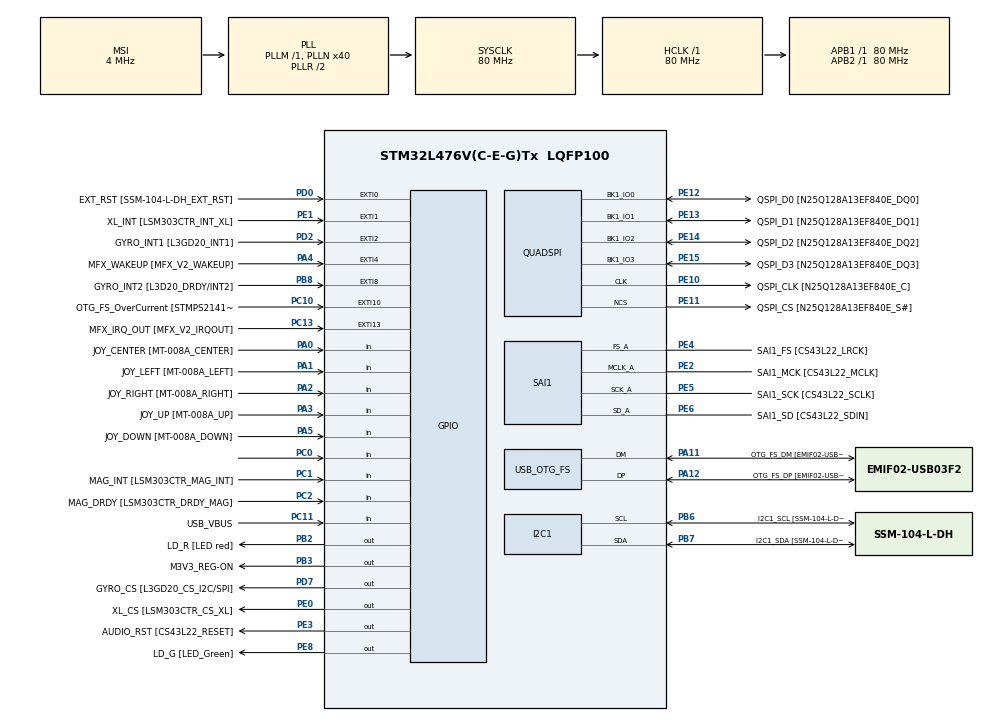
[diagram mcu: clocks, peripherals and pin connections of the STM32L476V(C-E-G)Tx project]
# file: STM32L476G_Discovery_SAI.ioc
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Dma.Request0=SAI1_A
Dma.SAI1_A.0.Direction=DMA_MEMORY_TO_PERIPH
Dma.SAI1_A.0.Instance=DMA2_Channel1
Dma.SAI1_A.0.MemDataAlignment=DMA_MDATAALIGN_HALFWORD
Dma.SAI1_A.0.MemInc=DMA_MINC_ENABLE
Dma.SAI1_A.0.Mode=DMA_CIRCULAR
Dma.SAI1_A.0.PeriphDataAlignment=DMA_PDATAALIGN_HALFWORD
Dma.SAI1_A.0.PeriphInc=DMA_PINC_DISABLE
Dma.SAI1_A.0.Priority=DMA_PRIORITY_HIGH
FATFS._MAX_SS=4096
FATFS._MIN_SS=4096
FREERTOS.Mutexes01=qspiMutex
FREERTOS.Tasks01=appTask,0,4096,appTaskBody,Default;usbTask,2,256,usbTaskBody,Default;audioTask,0,1024,audioTaskBody,Default
FREERTOS.configTOTAL_HEAP_SIZE=24576
I2C1.I2C_Fall_Time=20
I2C1.I2C_Rise_Time=640
I2C1.Timing=0x40E03E53
Mcu.Family=STM32L4
Mcu.Name=STM32L476V(C-E-G)Tx
Mcu.Package=LQFP100
Mcu.UserConstants=A,1;B,2
NVIC.DMA2_Channel1_IRQn=true\:5\:0\:false\:false\:true\:true
NVIC.OTG_FS_IRQn=true\:5\:0\:false\:false\:true\:true
NVIC.PriorityGroup=NVIC_PRIORITYGROUP_4
PA0.GPIO_Label=JOY_CENTER [MT-008A_CENTER]
PA0.GPIO_Mode=GPIO_MODE_INPUT
PA0.GPIO_PuPd=GPIO_PULLDOWN
PA0.Signal=GPIO_Input
PA1.GPIO_Label=JOY_LEFT [MT-008A_LEFT]
PA1.GPIO_Mode=GPIO_MODE_INPUT
PA1.GPIO_PuPd=GPIO_PULLDOWN
PA1.Signal=GPIO_Input
PA10.GPIO_Label=COM2 [GH08172T_COM2]
PA10.GPIO_Mode=GPIO_MODE_AF_PP
PA10.GPIO_PuPd=GPIO_NOPULL
PA10.GPIO_Speed=GPIO_SPEED_FREQ_LOW
PA10.Signal=LCD_COM2
PA11.GPIO_Label=OTG_FS_DM [EMIF02-USB03F2_D-out]
PA11.GPIO_Mode=GPIO_MODE_AF_PP
PA11.GPIO_PuPd=GPIO_NOPULL
PA11.GPIO_Speed=GPIO_SPEED_FREQ_VERY_HIGH
PA11.Mode=Device_Only
PA11.Signal=USB_OTG_FS_DM
PA12.GPIO_Label=OTG_FS_DP [EMIF02-USB03F2_D+out]
PA12.GPIO_Mode=GPIO_MODE_AF_PP
PA12.GPIO_PuPd=GPIO_NOPULL
PA12.GPIO_Speed=GPIO_SPEED_FREQ_VERY_HIGH
PA12.Mode=Device_Only
PA12.Signal=USB_OTG_FS_DP
PA13.GPIO_Label=SWDIO
PA13.Mode=Serial_Wire
PA13.Signal=SYS_JTMS-SWDIO
PA14.GPIO_Label=SWCLK
PA14.Mode=Serial_Wire
PA14.Signal=SYS_JTCK-SWCLK
PA15.GPIO_Label=SEG10 [GH08172T_SEG10]
PA15.GPIO_Mode=GPIO_MODE_AF_PP
PA15.GPIO_PuPd=GPIO_NOPULL
PA15.GPIO_Speed=GPIO_SPEED_FREQ_LOW
PA15.Signal=LCD_SEG17
PA2.GPIO_Label=JOY_RIGHT [MT-008A_RIGHT]
PA2.GPIO_Mode=GPIO_MODE_INPUT
PA2.GPIO_PuPd=GPIO_PULLDOWN
PA2.Signal=GPIO_Input
PA3.GPIO_Label=JOY_UP [MT-008A_UP]
PA3.GPIO_Mode=GPIO_MODE_INPUT
PA3.GPIO_PuPd=GPIO_PULLDOWN
PA3.Signal=GPIO_Input
PA4.GPIO_Label=MFX_WAKEUP [MFX_V2_WAKEUP]
PA4.GPIO_ModeDefaultEXTI=GPIO_MODE_EVT_RISING
PA4.GPIO_PuPd=GPIO_NOPULL
PA4.Signal=GPXTI4
PA5.GPIO_Label=JOY_DOWN [MT-008A_DOWN]
PA5.GPIO_Mode=GPIO_MODE_INPUT
PA5.GPIO_PuPd=GPIO_PULLDOWN
PA5.Signal=GPIO_Input
PA6.GPIO_Label=SEG23 [GH08172T_SEG23]
PA6.GPIO_Mode=GPIO_MODE_AF_PP
PA6.GPIO_PuPd=GPIO_NOPULL
PA6.GPIO_Speed=GPIO_SPEED_FREQ_LOW
PA6.Signal=LCD_SEG3
PA7.GPIO_Label=SEG0 [GH08172T_SEG0]
PA7.GPIO_Mode=GPIO_MODE_AF_PP
PA7.GPIO_PuPd=GPIO_NOPULL
PA7.GPIO_Speed=GPIO_SPEED_FREQ_LOW
PA7.Signal=LCD_SEG4
PA8.GPIO_Label=COM0 [GH08172T_COM0]
PA8.GPIO_Mode=GPIO_MODE_AF_PP
PA8.GPIO_PuPd=GPIO_NOPULL
PA8.GPIO_Speed=GPIO_SPEED_FREQ_LOW
PA8.Signal=LCD_COM0
PA9.GPIO_Label=COM1 [GH08172T_COM1]
PA9.GPIO_Mode=GPIO_MODE_AF_PP
PA9.GPIO_PuPd=GPIO_NOPULL
PA9.GPIO_Speed=GPIO_SPEED_FREQ_LOW
PA9.Signal=LCD_COM1
PB0.GPIO_Label=SEG21 [GH08172T_SEG21]
PB0.GPIO_Mode=GPIO_MODE_AF_PP
PB0.GPIO_PuPd=GPIO_NOPULL
PB0.GPIO_Speed=GPIO_SPEED_FREQ_LOW
PB0.Signal=LCD_SEG5
PB1.GPIO_Label=SEG2 [GH08172T_SEG2]
PB1.GPIO_Mode=GPIO_MODE_AF_PP
PB1.GPIO_PuPd=GPIO_NOPULL
PB1.GPIO_Speed=GPIO_SPEED_FREQ_LOW
PB1.Signal=LCD_SEG6
PB10.GPIO_Label=MFX_I2C_SLC [MFX_V2_I2C_SCL]
PB10.GPIO_Mode=GPIO_MODE_AF_OD
PB10.GPIO_PuPdOD=GPIO_PULLUP
PB10.GPIO_Speed=GPIO_SPEED_FREQ_VERY_HIGH
PB10.Signal=I2C2_SCL
PB11.GPIO_Label=MFX_I2C_SDA [MFX_V2_I2C_SDA]
PB11.GPIO_Mode=GPIO_MODE_AF_OD
PB11.GPIO_PuPdOD=GPIO_PULLUP
PB11.GPIO_Speed=GPIO_SPEED_FREQ_VERY_HIGH
PB11.Signal=I2C2_SDA
PB12.GPIO_Label=SEG20 [GH08172T_SEG20]
PB12.GPIO_Mode=GPIO_MODE_AF_PP
PB12.GPIO_PuPd=GPIO_NOPULL
PB12.GPIO_Speed=GPIO_SPEED_FREQ_LOW
PB12.Signal=LCD_SEG12
PB13.GPIO_Label=SEG3 [GH08172T_SEG3]
PB13.GPIO_Mode=GPIO_MODE_AF_PP
PB13.GPIO_PuPd=GPIO_NOPULL
PB13.GPIO_Speed=GPIO_SPEED_FREQ_LOW
PB13.Signal=LCD_SEG13
PB14.GPIO_Label=SEG19 [GH08172T_SEG19]
PB14.GPIO_Mode=GPIO_MODE_AF_PP
PB14.GPIO_PuPd=GPIO_NOPULL
PB14.GPIO_Speed=GPIO_SPEED_FREQ_LOW
PB14.Signal=LCD_SEG14
PB15.GPIO_Label=SEG4 [GH08172T_SEG4]
PB15.GPIO_Mode=GPIO_MODE_AF_PP
PB15.GPIO_PuPd=GPIO_NOPULL
PB15.GPIO_Speed=GPIO_SPEED_FREQ_LOW
PB15.Signal=LCD_SEG15
PB2.GPIO_Label=LD_R [LED red]
PB2.GPIO_ModeDefaultOutputPP=GPIO_MODE_OUTPUT_PP
PB2.GPIO_PuPd=GPIO_PULLUP
PB2.GPIO_Speed=GPIO_SPEED_FREQ_VERY_HIGH
PB2.Signal=GPIO_Output
PB3.GPIO_Label=M3V3_REG-ON
PB3.GPIO_ModeDefaultOutputPP=GPIO_MODE_OUTPUT_PP
PB3.GPIO_PuPd=GPIO_NOPULL
PB3.GPIO_Speed=GPIO_SPEED_FREQ_LOW
PB3.Signal=GPIO_Output
PB4.GPIO_Label=SEG11 [GH08172T_SEG11]
PB4.GPIO_Mode=GPIO_MODE_AF_PP
PB4.GPIO_PuPd=GPIO_NOPULL
PB4.GPIO_Speed=GPIO_SPEED_FREQ_LOW
PB4.Signal=LCD_SEG8
PB5.GPIO_Label=SEG12 [GH08172T_SEG12]
PB5.GPIO_Mode=GPIO_MODE_AF_PP
PB5.GPIO_PuPd=GPIO_NOPULL
PB5.GPIO_Speed=GPIO_SPEED_FREQ_LOW
PB5.Signal=LCD_SEG9
PB6.GPIO_FM6=__NULL
PB6.GPIO_Label=I2C1_SCL [SSM-104-L-DH_SCL]
PB6.GPIO_Mode=GPIO_MODE_AF_OD
PB6.GPIO_PuPdOD=GPIO_PULLUP
PB6.GPIO_Speed=GPIO_SPEED_FREQ_VERY_HIGH
PB6.Mode=I2C
PB6.Signal=I2C1_SCL
PB7.GPIO_FM7=__NULL
PB7.GPIO_Label=I2C1_SDA [SSM-104-L-DH_SDA]
PB7.GPIO_Mode=GPIO_MODE_AF_OD
PB7.GPIO_PuPdOD=GPIO_PULLUP
PB7.GPIO_Speed=GPIO_SPEED_FREQ_VERY_HIGH
PB7.Mode=I2C
PB7.Signal=I2C1_SDA
PB8.GPIO_Label=GYRO_INT2 [L3D20_DRDY/INT2]
PB8.GPIO_ModeDefaultEXTI=GPIO_MODE_EVT_RISING
PB8.GPIO_PuPd=GPIO_NOPULL
PB8.Signal=GPXTI8
PB9.GPIO_FM9=__NULL
PB9.GPIO_Label=COM3 [GH08172T_COM3]
PB9.GPIO_Mode=GPIO_MODE_AF_PP
PB9.GPIO_PuPd=GPIO_NOPULL
PB9.GPIO_Speed=GPIO_SPEED_FREQ_LOW
PB9.Signal=LCD_COM3
PC0.Signal=GPIO_Input
PC1.GPIO_Label=MAG_INT [LSM303CTR_MAG_INT]
PC1.GPIO_Mode=GPIO_MODE_INPUT
PC1.GPIO_PuPd=GPIO_NOPULL
PC1.Signal=GPIO_Input
PC10.GPIO_Label=OTG_FS_OverCurrent [STMPS2141STR_FAULT]
PC10.GPIO_ModeDefaultEXTI=GPIO_MODE_EVT_RISING
PC10.GPIO_PuPd=GPIO_NOPULL
PC10.Signal=GPXTI10
PC11.GPIO_Label=USB_VBUS
PC11.Signal=GPIO_Input
PC13.GPIO_Label=MFX_IRQ_OUT [MFX_V2_IRQOUT]
PC13.GPIO_ModeDefaultEXTI=GPIO_MODE_EVT_RISING
PC13.GPIO_PuPd=GPIO_NOPULL
PC13.Signal=GPXTI13
PC14/OSC32_IN.Mode=LSE-External-Oscillator
PC14/OSC32_IN.Signal=RCC_OSC32_IN
PC15/OSC32_OUT.Mode=LSE-External-Oscillator
PC15/OSC32_OUT.Signal=RCC_OSC32_OUT
PC2.GPIO_Label=MAG_DRDY [LSM303CTR_DRDY_MAG]
PC2.GPIO_Mode=GPIO_MODE_INPUT
PC2.GPIO_PuPd=GPIO_NOPULL
PC2.Signal=GPIO_Input
PC3.GPIO_Label=VLCD
PC3.GPIO_Mode=GPIO_MODE_AF_PP
PC3.GPIO_PuPd=GPIO_NOPULL
PC3.GPIO_Speed=GPIO_SPEED_FREQ_LOW
PC3.Signal=LCD_VLCD
PC4.GPIO_Label=SEG22 [GH08172T_SEG22]
PC4.GPIO_Mode=GPIO_MODE_AF_PP
PC4.GPIO_PuPd=GPIO_NOPULL
PC4.GPIO_Speed=GPIO_SPEED_FREQ_LOW
PC4.Signal=LCD_SEG22
PC5.GPIO_Label=SEG1 [GH08172T_SEG1]
PC5.GPIO_Mode=GPIO_MODE_AF_PP
PC5.GPIO_PuPd=GPIO_NOPULL
PC5.GPIO_Speed=GPIO_SPEED_FREQ_LOW
PC5.Signal=LCD_SEG23
PC6.GPIO_Label=SEG14 [GH08172T_SEG14]
PC6.GPIO_Mode=GPIO_MODE_AF_PP
PC6.GPIO_PuPd=GPIO_NOPULL
PC6.GPIO_Speed=GPIO_SPEED_FREQ_LOW
PC6.Signal=LCD_SEG24
PC7.GPIO_Label=SEG9 [GH08172T_SEG9]
PC7.GPIO_Mode=GPIO_MODE_AF_PP
PC7.GPIO_PuPd=GPIO_NOPULL
PC7.GPIO_Speed=GPIO_SPEED_FREQ_LOW
PC7.Signal=LCD_SEG25
PC8.GPIO_Label=SEG13 [GH08172T_SEG13]
PC8.GPIO_Mode=GPIO_MODE_AF_PP
PC8.GPIO_PuPd=GPIO_NOPULL
PC8.GPIO_Speed=GPIO_SPEED_FREQ_LOW
PC8.Signal=LCD_SEG26
PD0.GPIO_Label=EXT_RST [SSM-104-L-DH_EXT_RST]
PD0.GPIO_ModeDefaultEXTI=GPIO_MODE_EVT_RISING
PD0.GPIO_PuPd=GPIO_NOPULL
PD0.Signal=GPXTI0
PD1.GPIO_Label=MEMS_SCK [L3GD20_SCL/SPC]
PD1.GPIO_Mode=GPIO_MODE_AF_PP
PD1.GPIO_PuPd=GPIO_NOPULL
PD1.GPIO_Speed=GPIO_SPEED_FREQ_VERY_HIGH
PD1.Signal=SPI2_SCK
PD10.GPIO_Label=SEG17 [GH08172T_SEG17]
PD10.GPIO_Mode=GPIO_MODE_AF_PP
PD10.GPIO_PuPd=GPIO_NOPULL
PD10.GPIO_Speed=GPIO_SPEED_FREQ_LOW
PD10.Signal=LCD_SEG30
PD11.GPIO_Label=SEG6 [GH08172T_SEG6]
PD11.GPIO_Mode=GPIO_MODE_AF_PP
PD11.GPIO_PuPd=GPIO_NOPULL
PD11.GPIO_Speed=GPIO_SPEED_FREQ_LOW
PD11.Signal=LCD_SEG31
PD12.GPIO_Label=SEG16 [GH08172T_SEG16]
PD12.GPIO_Mode=GPIO_MODE_AF_PP
PD12.GPIO_PuPd=GPIO_NOPULL
PD12.GPIO_Speed=GPIO_SPEED_FREQ_LOW
PD12.Signal=LCD_SEG32
PD13.GPIO_Label=SEG7 [GH08172T_SEG7]
PD13.GPIO_Mode=GPIO_MODE_AF_PP
PD13.GPIO_PuPd=GPIO_NOPULL
PD13.GPIO_Speed=GPIO_SPEED_FREQ_LOW
PD13.Signal=LCD_SEG33
PD14.GPIO_Label=SEG15 [GH08172T_SEG15]
PD14.GPIO_Mode=GPIO_MODE_AF_PP
PD14.GPIO_PuPd=GPIO_NOPULL
PD14.GPIO_Speed=GPIO_SPEED_FREQ_LOW
PD14.Signal=LCD_SEG34
PD15.GPIO_Label=SEG8 [GH08172T_SEG8]
PD15.GPIO_Mode=GPIO_MODE_AF_PP
PD15.GPIO_PuPd=GPIO_NOPULL
PD15.GPIO_Speed=GPIO_SPEED_FREQ_LOW
PD15.Signal=LCD_SEG35
PD2.GPIO_Label=GYRO_INT1 [L3GD20_INT1]
PD2.GPIO_ModeDefaultEXTI=GPIO_MODE_EVT_RISING
PD2.GPIO_PuPd=GPIO_NOPULL
PD2.Signal=GPXTI2
PD3.GPIO_Label=MEMS_MISO [L3GD20_SA0/SDO]
PD3.GPIO_Mode=GPIO_MODE_AF_PP
PD3.GPIO_PuPd=GPIO_NOPULL
PD3.GPIO_Speed=GPIO_SPEED_FREQ_VERY_HIGH
PD3.Signal=SPI2_MISO
PD4.GPIO_Label=MEMS_MOSI [L3GD20_SDA/SDI/SDO]
PD4.GPIO_Mode=GPIO_MODE_AF_PP
PD4.GPIO_PuPd=GPIO_NOPULL
PD4.GPIO_Speed=GPIO_SPEED_FREQ_VERY_HIGH
PD4.Signal=SPI2_MOSI
PD5.GPIO_Label=USART_TX
PD5.GPIO_Mode=GPIO_MODE_AF_PP
PD5.GPIO_PuPd=GPIO_PULLUP
PD5.GPIO_Speed=GPIO_SPEED_FREQ_VERY_HIGH
PD5.Signal=USART2_TX
PD6.GPIO_Label=USART_RX
PD6.GPIO_Mode=GPIO_MODE_AF_PP
PD6.GPIO_PuPd=GPIO_PULLUP
PD6.GPIO_Speed=GPIO_SPEED_FREQ_VERY_HIGH
PD6.Signal=USART2_RX
PD7.GPIO_Label=GYRO_CS [L3GD20_CS_I2C/SPI]
PD7.GPIO_ModeDefaultOutputPP=GPIO_MODE_OUTPUT_PP
PD7.GPIO_PuPd=GPIO_NOPULL
PD7.GPIO_Speed=GPIO_SPEED_FREQ_VERY_HIGH
PD7.Signal=GPIO_Output
PD8.GPIO_Label=SEG18 [GH08172T_SEG18]
PD8.GPIO_Mode=GPIO_MODE_AF_PP
PD8.GPIO_PuPd=GPIO_NOPULL
PD8.GPIO_Speed=GPIO_SPEED_FREQ_LOW
PD8.Signal=LCD_SEG28
PD9.GPIO_Label=SEG5 [GH08172T_SEG5]
PD9.GPIO_Mode=GPIO_MODE_AF_PP
PD9.GPIO_PuPd=GPIO_NOPULL
PD9.GPIO_Speed=GPIO_SPEED_FREQ_LOW
PD9.Signal=LCD_SEG29
PE0.GPIO_Label=XL_CS [LSM303CTR_CS_XL]
PE0.GPIO_ModeDefaultOutputPP=GPIO_MODE_OUTPUT_PP
PE0.GPIO_PuPd=GPIO_NOPULL
PE0.GPIO_Speed=GPIO_SPEED_FREQ_LOW
PE0.Signal=GPIO_Output
PE1.GPIO_Label=XL_INT [LSM303CTR_INT_XL]
PE1.GPIO_ModeDefaultEXTI=GPIO_MODE_EVT_RISING
PE1.GPIO_PuPd=GPIO_NOPULL
PE1.Signal=GPXTI1
PE10.GPIO_Label=QSPI_CLK [N25Q128A13EF840E_C]
PE10.GPIO_Mode=GPIO_MODE_AF_PP
PE10.GPIO_PuPd=GPIO_NOPULL
PE10.GPIO_Speed=GPIO_SPEED_FREQ_VERY_HIGH
PE10.Mode=Single Bank
PE10.Signal=QUADSPI_CLK
PE11.GPIO_Label=QSPI_CS [N25Q128A13EF840E_S\#]
PE11.GPIO_Mode=GPIO_MODE_AF_PP
PE11.GPIO_PuPd=GPIO_NOPULL
PE11.GPIO_Speed=GPIO_SPEED_FREQ_VERY_HIGH
PE11.Mode=Single Bank
PE11.Signal=QUADSPI_NCS
PE12.GPIO_Label=QSPI_D0 [N25Q128A13EF840E_DQ0]
PE12.GPIO_Mode=GPIO_MODE_AF_PP
PE12.GPIO_PuPd=GPIO_NOPULL
PE12.GPIO_Speed=GPIO_SPEED_FREQ_VERY_HIGH
PE12.Mode=Single Bank
PE12.Signal=QUADSPI_BK1_IO0
PE13.GPIO_Label=QSPI_D1 [N25Q128A13EF840E_DQ1]
PE13.GPIO_Mode=GPIO_MODE_AF_PP
PE13.GPIO_PuPd=GPIO_NOPULL
PE13.GPIO_Speed=GPIO_SPEED_FREQ_VERY_HIGH
PE13.Mode=Single Bank
PE13.Signal=QUADSPI_BK1_IO1
PE14.GPIO_Label=QSPI_D2 [N25Q128A13EF840E_DQ2]
PE14.GPIO_Mode=GPIO_MODE_AF_PP
PE14.GPIO_PuPd=GPIO_NOPULL
PE14.GPIO_Speed=GPIO_SPEED_FREQ_VERY_HIGH
PE14.Mode=Single Bank
PE14.Signal=QUADSPI_BK1_IO2
PE15.GPIO_Label=QSPI_D3 [N25Q128A13EF840E_DQ3]
PE15.GPIO_Mode=GPIO_MODE_AF_PP
PE15.GPIO_PuPd=GPIO_NOPULL
PE15.GPIO_Speed=GPIO_SPEED_FREQ_VERY_HIGH
PE15.Mode=Single Bank
PE15.Signal=QUADSPI_BK1_IO3
PE2.GPIO_Label=SAI1_MCK [CS43L22_MCLK]
PE2.GPIO_Mode=GPIO_MODE_AF_PP
PE2.GPIO_PuPd=GPIO_NOPULL
PE2.GPIO_Speed=GPIO_SPEED_FREQ_VERY_HIGH
PE2.Mode=SAI_A_MasterWithClock
PE2.Signal=SAI1_MCLK_A
PE3.GPIO_Label=AUDIO_RST [CS43L22_RESET]
PE3.GPIO_ModeDefaultOutputPP=GPIO_MODE_OUTPUT_PP
PE3.GPIO_PuPd=GPIO_NOPULL
PE3.GPIO_Speed=GPIO_SPEED_FREQ_HIGH
PE3.Signal=GPIO_Output
PE4.GPIO_Label=SAI1_FS [CS43L22_LRCK]
PE4.GPIO_Mode=GPIO_MODE_AF_PP
PE4.GPIO_PuPd=GPIO_NOPULL
PE4.GPIO_Speed=GPIO_SPEED_FREQ_VERY_HIGH
PE4.Mode=SAI_A_MasterWithClock
PE4.Signal=SAI1_FS_A
PE5.GPIO_Label=SAI1_SCK [CS43L22_SCLK]
PE5.GPIO_Mode=GPIO_MODE_AF_PP
PE5.GPIO_PuPd=GPIO_NOPULL
PE5.GPIO_Speed=GPIO_SPEED_FREQ_VERY_HIGH
PE5.Mode=SAI_A_MasterWithClock
PE5.Signal=SAI1_SCK_A
PE6.GPIO_Label=SAI1_SD [CS43L22_SDIN]
PE6.GPIO_Mode=GPIO_MODE_AF_PP
PE6.GPIO_PuPd=GPIO_NOPULL
PE6.GPIO_Speed=GPIO_SPEED_FREQ_VERY_HIGH
PE6.Mode=SAI_A_MasterWithClock
PE6.Signal=SAI1_SD_A
PE7.GPIO_Label=AUDIO_DIN [MP34DT01_DOUT]
PE7.GPIO_Mode=GPIO_MODE_AF_PP
PE7.GPIO_PuPd=GPIO_NOPULL
PE7.GPIO_Speed=GPIO_SPEED_FREQ_VERY_HIGH
PE7.Signal=SAI1_SD_B
PE8.GPIO_Label=LD_G [LED_Green]
PE8.GPIO_ModeDefaultOutputPP=GPIO_MODE_OUTPUT_PP
PE8.GPIO_PuPd=GPIO_PULLUP
PE8.GPIO_Speed=GPIO_SPEED_FREQ_VERY_HIGH
PE8.Signal=GPIO_Output
PE9.GPIO_Label=AUDIO_CLK [MP34DT01_CLK]
PE9.GPIO_Mode=GPIO_MODE_AF_PP
PE9.GPIO_PuPd=GPIO_NOPULL
PE9.GPIO_Speed=GPIO_SPEED_FREQ_LOW
PE9.Signal=SAI1_FS_B
PH0/OSC_IN.Signal=RCC_OSC_IN
PH1/OSC_OUT.Signal=RCC_OSC_OUT
ProjectManager.HeapSize=0x200
ProjectManager.StackSize=0x400
ProjectManager.TargetToolchain=SW4STM32
QUADSPI.ClockPrescaler-Single\ Bank=0
QUADSPI.FifoThreshold-Single\ Bank=4
QUADSPI.FlashSize-Single\ Bank=23
RCC.ADCFreq_Value=96000000
RCC.AHBFreq_Value=80000000
RCC.APB1Freq_Value=80000000
RCC.APB1TimFreq_Value=80000000
RCC.APB2Freq_Value=80000000
RCC.APB2TimFreq_Value=80000000
RCC.CortexFreq_Value=80000000
RCC.HCLKFreq_Value=80000000
RCC.HSE_VALUE=8000000
RCC.HSI_VALUE=16000000
RCC.MSI_VALUE=4000000
RCC.PLLN=40
RCC.PLLSAI1N=48
RCC.PLLSAI1P=RCC_PLLP_DIV17
RCC.PLLSAI1Q=RCC_PLLQ_DIV4
RCC.PREFETCH_ENABLE=1
RCC.SYSCLKFreq_VALUE=80000000
RCC.SYSCLKSource=RCC_SYSCLKSOURCE_PLLCLK
RCC.USBFreq_Value=48000000
RCC.VCOOutputFreq_Value=160000000
SAI1.ActiveFrameLength-SAI_A_MasterWithClock=16
SAI1.AudioFrequency-SAI_A_MasterWithClock=SAI_AUDIO_FREQUENCY_44K
SAI1.ClockStrobing-SAI_A_MasterWithClock=SAI_CLOCKSTROBING_RISINGEDGE
SAI1.DataSize-SAI_A_MasterWithClock=SAI_DATASIZE_16
SAI1.ErrorAudioFreq-SAI_A_MasterWithClock=-77.02 %
SAI1.FIFOThreshold-SAI_A_MasterWithClock=SAI_FIFOTHRESHOLD_1QF
SAI1.FSDefinition-SAI_A_MasterWithClock=SAI_FS_CHANNEL_IDENTIFICATION
SAI1.FSOffset-SAI_A_MasterWithClock=SAI_FS_BEFOREFIRSTBIT
SAI1.FrameLength-SAI_A_MasterWithClock=32
SAI1.Instance-SAI_A_MasterWithClock=SAI$Index_Block_A
SAI1.MClockEnable-SAI_A_MasterWithClock=SAI_MASTERCLOCK_ENABLE
SAI1.OutputDrive-SAI_A_MasterWithClock=SAI_OUTPUTDRIVE_ENABLE
SAI1.RealAudioFreq-SAI_A_MasterWithClock=44.117 KHz
SAI1.SlotActive-SAI_A_MasterWithClock=0x00000003
SAI1.SlotNumber-SAI_A_MasterWithClock=2
SAI1.VirtualSlotActive-SAI_A_MasterWithClock=SAI_SLOT_USERSETTING
SAI1.VirtualSlotActive0-SAI_A_MasterWithClock=true
SAI1.VirtualSlotActive1-SAI_A_MasterWithClock=true
USB_DEVICE.MSC_MEDIA_PACKET=4096
USB_DEVICE.USBD_HandleTypeDef=hUsbDeviceFS
USB_DEVICE.USBD_LPM_ENABLED=0
USB_DEVICE.VirtualMode=Msc
USB_DEVICE.VirtualModeFS=Msc_FS
USB_OTG_FS.VirtualMode=Device_Only
USB_OTG_FS.vbus_sensing_enable=DISABLE
VP_FATFS_VS_Generic.Mode=User_defined
VP_FREERTOS_VS_ENABLE.Mode=Enabled
VP_USB_DEVICE_VS_USB_DEVICE_MSC_FS.Mode=MSC_FS
board=STM32L476G-DISCO

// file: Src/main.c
/**
  ******************************************************************************
  * File Name          : main.c
  * Description        : Main program body
  ******************************************************************************
  *
  * COPYRIGHT(c) 2016 STMicroelectronics
  *
  * Redistribution and use in source and binary forms, with or without modification,
  * are permitted provided that the following conditions are met:
  *   1. Redistributions of source code must retain the above copyright notice,
  *      this list of conditions and the following disclaimer.
  *   2. Redistributions in binary form must reproduce the above copyright notice,
  *      this list of conditions and the following disclaimer in the documentation
  *      and/or other materials provided with the distribution.
  *   3. Neither the name of STMicroelectronics nor the names of its contributors
  *      may be used to endorse or promote products derived from this software
  *      without specific prior written permission.
  *
  * THIS SOFTWARE IS PROVIDED BY THE COPYRIGHT HOLDERS AND CONTRIBUTORS "AS IS"
  * AND ANY EXPRESS OR IMPLIED WARRANTIES, INCLUDING, BUT NOT LIMITED TO, THE
  * IMPLIED WARRANTIES OF MERCHANTABILITY AND FITNESS FOR A PARTICULAR PURPOSE ARE
  * DISCLAIMED. IN NO EVENT SHALL THE COPYRIGHT HOLDER OR CONTRIBUTORS BE LIABLE
  * FOR ANY DIRECT, INDIRECT, INCIDENTAL, SPECIAL, EXEMPLARY, OR CONSEQUENTIAL
  * DAMAGES (INCLUDING, BUT NOT LIMITED TO, PROCUREMENT OF SUBSTITUTE GOODS OR
  * SERVICES; LOSS OF USE, DATA, OR PROFITS; OR BUSINESS INTERRUPTION) HOWEVER
  * CAUSED AND ON ANY THEORY OF LIABILITY, WHETHER IN CONTRACT, STRICT LIABILITY,
  * OR TORT (INCLUDING NEGLIGENCE OR OTHERWISE) ARISING IN ANY WAY OUT OF THE USE
  * OF THIS SOFTWARE, EVEN IF ADVISED OF THE POSSIBILITY OF SUCH DAMAGE.
  *
  ******************************************************************************
  */
#include "stm32l4xx_hal.h"
#include "cmsis_os.h"
#include "dma.h"
#include "fatfs.h"
#include "i2c.h"
#include "quadspi.h"
#include "sai.h"
#include "usb_device.h"
#include "gpio.h"

/* USER CODE BEGIN Includes */
#include <stdio.h>
#include <stdlib.h>
/* USER CODE END Includes */

/* USER CODE BEGIN PV */
/* Private variables ---------------------------------------------------------*/

/* USER CODE END PV */

void SystemClock_Config(void);
void Error_Handler(void);
void MX_FREERTOS_Init(void);

/* USER CODE BEGIN PFP */
/* Private function prototypes -----------------------------------------------*/

/* USER CODE END PFP */

int main(void)
{

  /* USER CODE BEGIN 1 */
  initialise_monitor_handles();                        //to enable debug printf()

  QSPI_Info flashInfo;                                 //to get info about the SPI NOR flash chip
  /* USER CODE END 1 */

  /* MCU Configuration----------------------------------------------------------*/

  /* Reset of all peripherals, Initializes the Flash interface and the Systick. */
  HAL_Init();

  /* Configure the system clock */
  SystemClock_Config();

  /* Initialize all configured peripherals */
  MX_GPIO_Init();
  MX_DMA_Init();
  MX_QUADSPI_Init();
  MX_I2C1_Init();
  MX_SAI1_Init();

  /* USER CODE BEGIN 2 */
  printf("SAI Program\n");
  printf("Using SPI NOR Flash as USB Removable Storage to store Audio files\n");
  printf("Accessing SPI NOR Flash using FAT Filesystem\n\n");

  //display info about the SPI NOR flash chip
  BSP_QSPI_GetInfo(&flashInfo);
  printf("Flash Chip Info: \n");
  printf("Chip Vendor: Micron Technology Corp.\n");
  printf("Chip Model: N25Q128A SPI NOR Flash\n");
  printf("Capacity (bytes): %d\n", flashInfo.FlashSize);
  printf("Sector Size (bytes): %d\n", flashInfo.EraseSectorSize);
  /* USER CODE END 2 */

  /* Call init function for freertos objects (in freertos.c) */
  MX_FREERTOS_Init();

  /* Start scheduler */
  osKernelStart();

  /* We should never get here as control is now taken by the scheduler */

  /* Infinite loop */
  while (1)
  {

  }

}

/** System Clock Configuration
*/
void SystemClock_Config(void)
{

  RCC_OscInitTypeDef RCC_OscInitStruct;
  RCC_ClkInitTypeDef RCC_ClkInitStruct;
  RCC_PeriphCLKInitTypeDef PeriphClkInit;

  RCC_OscInitStruct.OscillatorType = RCC_OSCILLATORTYPE_LSE|RCC_OSCILLATORTYPE_MSI;
  RCC_OscInitStruct.LSEState = RCC_LSE_ON;
  RCC_OscInitStruct.MSIState = RCC_MSI_ON;
  RCC_OscInitStruct.MSICalibrationValue = 0;
  RCC_OscInitStruct.MSIClockRange = RCC_MSIRANGE_6;
  RCC_OscInitStruct.PLL.PLLState = RCC_PLL_ON;
  RCC_OscInitStruct.PLL.PLLSource = RCC_PLLSOURCE_MSI;
  RCC_OscInitStruct.PLL.PLLM = 1;
  RCC_OscInitStruct.PLL.PLLN = 40;
  RCC_OscInitStruct.PLL.PLLP = RCC_PLLP_DIV7;
  RCC_OscInitStruct.PLL.PLLQ = RCC_PLLQ_DIV2;
  RCC_OscInitStruct.PLL.PLLR = RCC_PLLR_DIV2;
  if (HAL_RCC_OscConfig(&RCC_OscInitStruct) != HAL_OK)
  {
    Error_Handler();
  }

  RCC_ClkInitStruct.ClockType = RCC_CLOCKTYPE_HCLK|RCC_CLOCKTYPE_SYSCLK
                              |RCC_CLOCKTYPE_PCLK1|RCC_CLOCKTYPE_PCLK2;
  RCC_ClkInitStruct.SYSCLKSource = RCC_SYSCLKSOURCE_PLLCLK;
  RCC_ClkInitStruct.AHBCLKDivider = RCC_SYSCLK_DIV1;
  RCC_ClkInitStruct.APB1CLKDivider = RCC_HCLK_DIV1;
  RCC_ClkInitStruct.APB2CLKDivider = RCC_HCLK_DIV1;
  if (HAL_RCC_ClockConfig(&RCC_ClkInitStruct, FLASH_LATENCY_4) != HAL_OK)
  {
    Error_Handler();
  }

  PeriphClkInit.PeriphClockSelection = RCC_PERIPHCLK_SAI1|RCC_PERIPHCLK_I2C1
                              |RCC_PERIPHCLK_USB;
  PeriphClkInit.I2c1ClockSelection = RCC_I2C1CLKSOURCE_PCLK1;
  PeriphClkInit.Sai1ClockSelection = RCC_SAI1CLKSOURCE_PLLSAI1;
  PeriphClkInit.UsbClockSelection = RCC_USBCLKSOURCE_PLLSAI1;
  PeriphClkInit.PLLSAI1.PLLSAI1Source = RCC_PLLSOURCE_MSI;
  PeriphClkInit.PLLSAI1.PLLSAI1M = 1;
  PeriphClkInit.PLLSAI1.PLLSAI1N = 48;
  PeriphClkInit.PLLSAI1.PLLSAI1P = RCC_PLLP_DIV17;
  PeriphClkInit.PLLSAI1.PLLSAI1Q = RCC_PLLQ_DIV4;
  PeriphClkInit.PLLSAI1.PLLSAI1R = RCC_PLLR_DIV2;
  PeriphClkInit.PLLSAI1.PLLSAI1ClockOut = RCC_PLLSAI1_SAI1CLK|RCC_PLLSAI1_48M2CLK;
  if (HAL_RCCEx_PeriphCLKConfig(&PeriphClkInit) != HAL_OK)
  {
    Error_Handler();
  }

  __HAL_RCC_PWR_CLK_ENABLE();

  if (HAL_PWREx_ControlVoltageScaling(PWR_REGULATOR_VOLTAGE_SCALE1) != HAL_OK)
  {
    Error_Handler();
  }

  HAL_SYSTICK_Config(HAL_RCC_GetHCLKFreq()/1000);

  HAL_SYSTICK_CLKSourceConfig(SYSTICK_CLKSOURCE_HCLK);

  HAL_RCCEx_EnableMSIPLLMode();

  /* SysTick_IRQn interrupt configuration */
  HAL_NVIC_SetPriority(SysTick_IRQn, 15, 0);
}

void Error_Handler(void)
{
  while(1)
  {
  }
}

/************************ (C) COPYRIGHT STMicroelectronics *****END OF FILE****/

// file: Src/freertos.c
/**
  ******************************************************************************
  * File Name          : freertos.c
  * Description        : Code for freertos applications
  ******************************************************************************
  *
  * COPYRIGHT(c) 2016 STMicroelectronics
  *
  * Redistribution and use in source and binary forms, with or without modification,
  * are permitted provided that the following conditions are met:
  *   1. Redistributions of source code must retain the above copyright notice,
  *      this list of conditions and the following disclaimer.
  *   2. Redistributions in binary form must reproduce the above copyright notice,
  *      this list of conditions and the following disclaimer in the documentation
  *      and/or other materials provided with the distribution.
  *   3. Neither the name of STMicroelectronics nor the names of its contributors
  *      may be used to endorse or promote products derived from this software
  *      without specific prior written permission.
  *
  * THIS SOFTWARE IS PROVIDED BY THE COPYRIGHT HOLDERS AND CONTRIBUTORS "AS IS"
  * AND ANY EXPRESS OR IMPLIED WARRANTIES, INCLUDING, BUT NOT LIMITED TO, THE
  * IMPLIED WARRANTIES OF MERCHANTABILITY AND FITNESS FOR A PARTICULAR PURPOSE ARE
  * DISCLAIMED. IN NO EVENT SHALL THE COPYRIGHT HOLDER OR CONTRIBUTORS BE LIABLE
  * FOR ANY DIRECT, INDIRECT, INCIDENTAL, SPECIAL, EXEMPLARY, OR CONSEQUENTIAL
  * DAMAGES (INCLUDING, BUT NOT LIMITED TO, PROCUREMENT OF SUBSTITUTE GOODS OR
  * SERVICES; LOSS OF USE, DATA, OR PROFITS; OR BUSINESS INTERRUPTION) HOWEVER
  * CAUSED AND ON ANY THEORY OF LIABILITY, WHETHER IN CONTRACT, STRICT LIABILITY,
  * OR TORT (INCLUDING NEGLIGENCE OR OTHERWISE) ARISING IN ANY WAY OUT OF THE USE
  * OF THIS SOFTWARE, EVEN IF ADVISED OF THE POSSIBILITY OF SUCH DAMAGE.
  *
  ******************************************************************************
  */

#include "FreeRTOS.h"
#include "task.h"
#include "cmsis_os.h"

/* USER CODE BEGIN Includes */

#include "stm32l4xx_hal.h"
#include "mxconstants.h"
#include "usbd_core.h"
#include "usb_device.h"
#include "fatfs.h"
#include "sai.h"
#include "i2c.h"

/* USER CODE END Includes */

osThreadId appTaskHandle;
osThreadId usbTaskHandle;
osThreadId audioTaskHandle;
osMutexId qspiMutexHandle;

/* USER CODE BEGIN Variables */

#define AUDIO_BUFFER_SIZE          (1024 * 8)       /* Size (in bytes) of the buffer containing the PCM samples */
#define WAV_FILE_HEADER_SIZE        44              /* Size (in bytes) of a WAV header */

FIL File;
FATFS FatFs;
uint8_t                   Buffer[AUDIO_BUFFER_SIZE];    // Buffer containig the PCM samples to play
uint32_t                  ActualPosition;               // Actual read offset

/* USER CODE END Variables */

void appTaskBody(void const * argument);
void usbTaskBody(void const * argument);
void audioTaskBody(void const * argument);

extern void MX_FATFS_Init(void);
extern void MX_USB_DEVICE_Init(void);
void MX_FREERTOS_Init(void); /* (MISRA C 2004 rule 8.1) */

/* USER CODE BEGIN FunctionPrototypes */

extern void Error_Handler(void);

static void AudioPlayer_Start(void);

/* USER CODE END FunctionPrototypes */

/* Hook prototypes */

/* Init FreeRTOS */

void MX_FREERTOS_Init(void) {

  /* Create the mutex(es) */
  /* definition and creation of qspiMutex */
  osMutexDef(qspiMutex);
  qspiMutexHandle = osMutexCreate(osMutex(qspiMutex));

  /* Create the thread(s) */
  /* definition and creation of appTask */
  osThreadDef(appTask, appTaskBody, osPriorityNormal, 0, 4096);
  appTaskHandle = osThreadCreate(osThread(appTask), NULL);

  /* definition and creation of usbTask */
  osThreadDef(usbTask, usbTaskBody, osPriorityHigh, 0, 256);
  usbTaskHandle = osThreadCreate(osThread(usbTask), NULL);

  /* definition and creation of audioTask */
  osThreadDef(audioTask, audioTaskBody, osPriorityNormal, 0, 1024);
  audioTaskHandle = osThreadCreate(osThread(audioTask), NULL);

}

/* appTaskBody function */
void appTaskBody(void const * argument)
{
  /* init code for FATFS */
  MX_FATFS_Init();

  /* USER CODE BEGIN appTaskBody */

  /* Wait for the qspiMutex */
  osMutexWait(qspiMutexHandle, osWaitForever);

  /* Register the file system object to the FatFs module */
  if(f_mount(&FatFs, (TCHAR const*)USER_Path, 1) != FR_OK)
  {
    /* FatFs Initialization Error */
    if (f_mkfs((TCHAR const*)USER_Path, 0, 128) != FR_OK)
    {
      Error_Handler();
    }
    else {
      /* Second trial to register the file system object */
      if(f_mount(&FatFs, (TCHAR const*)USER_Path, 1) != FR_OK)
      {
        Error_Handler();
      }
    }
  }

  /* FatFS file write test */
  if(f_open(&File, "Test", FA_CREATE_NEW | FA_WRITE) == FR_OK)
  {
    f_printf(&File, "FatFS is working properly.\n");
    f_close(&File);
  }

  /* Release the qspiMutex */
  osMutexRelease(qspiMutexHandle);

  /* Initialize audio driver */
  if(CS43L22_ID != AUDIO_ReadID(AUDIO_I2C_ADDRESS))
  {
    Error_Handler();
  }
  if(0 != AUDIO_Init(AUDIO_I2C_ADDRESS, OUTPUT_DEVICE_HEADPHONE, 60, AUDIO_FREQUENCY_44K))
  {
    Error_Handler();
  }

  /* Start the audio player */
  AudioPlayer_Start();

  //printf("appTask Stack Usage (words): %d\n", (int)uxTaskGetStackHighWaterMark(NULL));               //calc. max. stack usage for the task

  /* Infinite loop */
  for(;;)
  {
    osDelay(100);
  }
  /* USER CODE END appTaskBody */
}

/* usbTaskBody function */
void usbTaskBody(void const * argument)
{
  /* USER CODE BEGIN usbTaskBody */
  uint32_t USB_VBUS_counter = 0;

  /* Infinite loop */
  for(;;)
  {
    USB_VBUS_counter = 0;
    /* USB_VBUS availability check */
    while (USB_VBUS_counter < 5)
    {
      osDelay(10);
      if (HAL_GPIO_ReadPin(USB_VBUS_GPIO_Port, USB_VBUS_Pin) != GPIO_PIN_RESET)
      {
        USB_VBUS_counter++;
      }
      else {
        break;
      }
    }
    if(USB_VBUS_counter >= 5)
    {
	  /* Wait for the qspiMutex */
      osMutexWait(qspiMutexHandle, osWaitForever);

      /* Initialize USB peripheral */
      MX_USB_DEVICE_Init();

      HAL_GPIO_WritePin(LD_R_GPIO_Port, LD_R_Pin, GPIO_PIN_SET);

      /* USB_VBUS availability check */
      while (USB_VBUS_counter)
      {
        /* Wait 100ms, then check the USB_VBUS availability */
        osDelay(100);

        if (HAL_GPIO_ReadPin(USB_VBUS_GPIO_Port, USB_VBUS_Pin) == GPIO_PIN_RESET)
        {
          USB_VBUS_counter--;
        }
        else {
          USB_VBUS_counter = 5;
        }
      }

      /* Deinitialize USB peripheral */
      USBD_DeInit(&hUsbDeviceFS);

	  /* Release the qspiMutex */
	  osMutexRelease(qspiMutexHandle);

	  //printf("usbTask Stack Usage (words): %d\n", (int)uxTaskGetStackHighWaterMark(NULL));                    //calc. max. stack usage for the task

      HAL_GPIO_WritePin(LD_R_GPIO_Port, LD_R_Pin, GPIO_PIN_RESET);
    }

    osDelay(1000);                                 //check for USB_VBUS availability every 1 second
  }
  /* USER CODE END usbTaskBody */
}

/* audioTaskBody function */
void audioTaskBody(void const * argument)
{
  /* USER CODE BEGIN audioTaskBody */
  uint32_t bufferOffset = 0;
  uint32_t bytesRead = 0;
  osEvent event;

  /* Infinite loop */
  for(;;)
  {
    event = osSignalWait(A | B, osWaitForever);
    if( event.status == osEventSignal )
    {
      switch(event.value.v)
      {
      case B:
        bufferOffset = AUDIO_BUFFER_SIZE/2;
        break;
      case A:
        bufferOffset = 0;
        break;
      default:
        /* We were not fast enough to deliver new data => clean the buffer => speed up SYSCLK */
        break;
      }

      /* Wait for the qspiMutex */
      osMutexWait(qspiMutexHandle, osWaitForever);

      /* Fill in the buffer with new data */
      if (f_read(&File, (uint8_t *)(Buffer + bufferOffset), AUDIO_BUFFER_SIZE/2, &bytesRead) != FR_OK)
      {
        Error_Handler();
      }

      /* Some processing of the audio data could be added here */

      /* GREEN LED ON */
      HAL_GPIO_TogglePin(LD_G_GPIO_Port, LD_G_Pin);

      ActualPosition += bytesRead;

      /* Check the end of the file */
      if((ActualPosition + (AUDIO_BUFFER_SIZE/2)) > File.fsize)
      {
        if (f_rewind(&File) != FR_OK)
        {
          Error_Handler();
        }

        if (f_lseek(&File, WAV_FILE_HEADER_SIZE) != FR_OK)
        {
          Error_Handler();
        }

        /* Skip the WAV header - this we don't want to listen to :) */
        ActualPosition = WAV_FILE_HEADER_SIZE;
      }

      /* Release the qspiMutex */
      osMutexRelease(qspiMutexHandle);
    }
    else {
      /* Don't care now (not implemented) */
    }
  }
  /* USER CODE END audioTaskBody */
}

/* USER CODE BEGIN Application */

/**
  * @brief Tx Transfer completed callbacks.
  * @param  hsai : pointer to a SAI_HandleTypeDef structure that contains
  *                the configuration information for SAI module.
  * @retval None
  */
void HAL_SAI_TxCpltCallback(SAI_HandleTypeDef *hsai)
{
  /* NOTE : This function Should not be modified, when the callback is needed,
            the HAL_SAI_TxCpltCallback could be implemented in the user file
   */
  osSignalSet(audioTaskHandle, B);
}

/**
  * @brief Tx Transfer Half completed callbacks
  * @param  hsai : pointer to a SAI_HandleTypeDef structure that contains
  *                the configuration information for SAI module.
  * @retval None
  */
void HAL_SAI_TxHalfCpltCallback(SAI_HandleTypeDef *hsai)
{
  /* NOTE : This function Should not be modified, when the callback is needed,
            the HAL_SAI_TxHalfCpltCallback could be implenetd in the user file
   */
  osSignalSet(audioTaskHandle, A);
}

/**
  * @brief AudioPlayer Start method
  * @param  None
  * @retval None
  */
static void AudioPlayer_Start(void)
{
  /* Wake-Up external audio Codec and enable output */
  if(0 != AUDIO_Play(AUDIO_I2C_ADDRESS, NULL, 0))
  {
    Error_Handler();
  }

  /* Wait for the qspiMutex */
  osMutexWait(qspiMutexHandle, osWaitForever);

  /* Create and Open a new text file object with write access */
  if(f_open(&File, (TCHAR const*)"audio.wav", FA_READ) != FR_OK)
  {
    Error_Handler();
  }

  /* Skip the WAV header - this we don't want to listen to :) */
  ActualPosition = WAV_FILE_HEADER_SIZE;

  /* Move file pointer to appropriate address - keep in mind that the file consists of many blocks in sectors */
  if (f_lseek(&File, WAV_FILE_HEADER_SIZE) != FR_OK)
  {
    Error_Handler();
  }

  /* Release the qspiMutex */
  osMutexRelease(qspiMutexHandle);

  /* Start the SAI DMA transfer from the Buffer */
  if(HAL_OK != HAL_SAI_Transmit_DMA(&hsai_BlockA1, (uint8_t *)Buffer, AUDIO_BUFFER_SIZE/2))
  {
    Error_Handler();
  }
}

/* USER CODE END Application */

/************************ (C) COPYRIGHT STMicroelectronics *****END OF FILE****/
